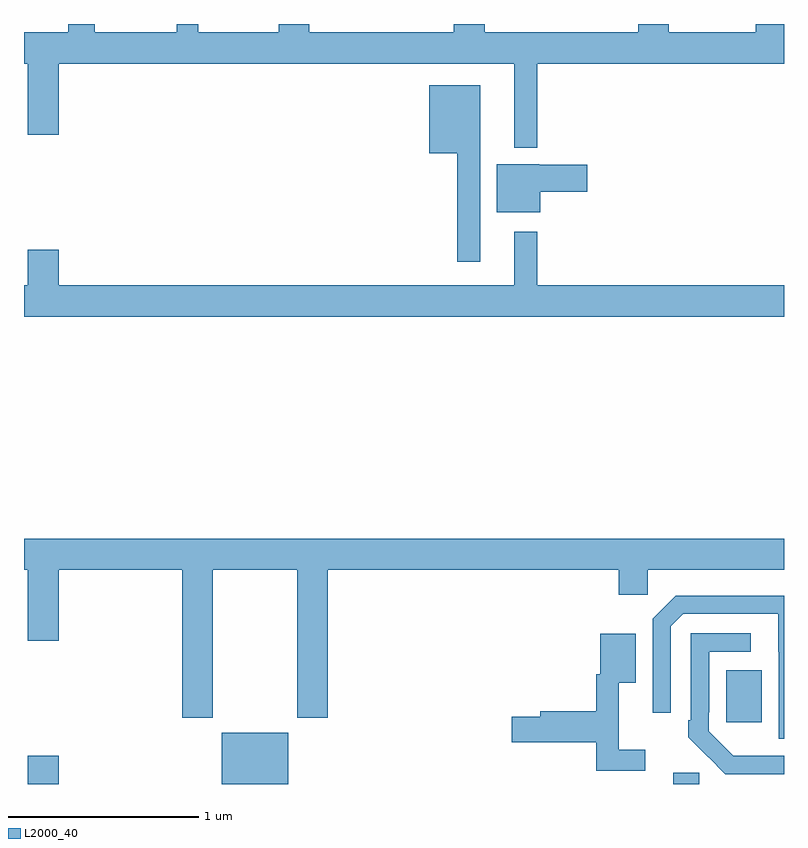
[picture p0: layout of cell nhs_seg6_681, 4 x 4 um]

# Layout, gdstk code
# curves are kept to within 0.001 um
import gdstk
lib = gdstk.Library(unit=1e-6, precision=1e-09)
def R(c, l, rs):  # rectangles x0, y0, x1, y1
    for r in rs: c.add(gdstk.rectangle(r[:2], r[2:], *l))
def P(c, l, *ps):  # polygons
    for p in ps: c.add(gdstk.Polygon(p, *l))
L2000_40 = (2000, 40)

nhs_seg6_681 = lib.new_cell('nhs_seg6_681')
R(nhs_seg6_681, L2000_40, [(153.02,987.5,153.184,987.649), (154.04,987.5,154.39,987.769), (156.416,987.5,156.555,987.558), (156.695,987.825,156.883,988.099)])
P(nhs_seg6_681, L2000_40, [(155.701,991.292),(157,991.292),(157,991.5),(156.85,991.5),(156.85,991.456),(156.393,991.456),(156.393,991.5),(156.233,991.5),(156.233,991.456),(155.426,991.456),(155.426,991.5),(155.261,991.5),(155.261,991.456),(154.502,991.456),(154.502,991.5),(154.342,991.5),(154.342,991.456),(153.917,991.456),(153.917,991.5),(153.803,991.5),(153.803,991.456),(153.373,991.456),(153.373,991.5),(153.233,991.5),(153.233,991.456),(153,991.456),(153,991.292),(153.02,991.292),(153.02,990.918),(153.184,990.918),(153.184,991.292),(155.579,991.292),(155.579,990.848),(155.701,990.848)],
  [(155.401,991.177),(155.132,991.177),(155.132,990.821),(155.28,990.821),(155.28,990.249),(155.401,990.249)],
  [(155.716,990.616),(155.965,990.616),(155.965,990.758),(155.712,990.758),(155.712,990.763),(155.489,990.763),(155.489,990.509),(155.716,990.509)],
  [(157,990.124),(155.701,990.124),(155.701,990.406),(155.579,990.406),(155.579,990.124),(153.184,990.124),(153.184,990.313),(153.02,990.313),(153.02,990.124),(153,990.124),(153,989.96),(157,989.96)],
  [(153.993,988.628),(154.438,988.628),(154.438,987.849),(154.598,987.849),(154.598,988.628),(156.131,988.628),(156.131,988.497),(156.282,988.497),(156.282,988.628),(157,988.628),(157,988.792),(153,988.792),(153,988.628),(153.02,988.628),(153.02,988.254),(153.184,988.254),(153.184,988.628),(153.833,988.628),(153.833,987.849),(153.993,987.849)],
  [(157,988.492),(156.43,988.492),(156.309,988.371),(156.309,987.876),(156.405,987.876),(156.405,988.329),(156.471,988.395),(156.971,988.395),(156.971,988.195),(156.972,988.195),(156.972,987.738),(157,987.738)],
  [(157,987.648),(156.732,987.649),(156.603,987.777),(156.603,987.877),(156.606,987.877),(156.606,988.197),(156.826,988.197),(156.826,988.293),(156.51,988.293),(156.51,987.835),(156.495,987.835),(156.495,987.747),(156.692,987.552),(157,987.552)],
  [(156.271,987.679),(156.131,987.679),(156.131,988.034),(156.22,988.034),(156.22,988.291),(156.032,988.291),(156.032,988.077),(156.013,988.077),(156.013,987.884),(155.717,987.884),(155.717,987.854),(155.568,987.854),(155.568,987.719),(156.013,987.719),(156.013,987.57),(156.271,987.57)])

lib.write_gds('nhs_seg6_681.gds')
